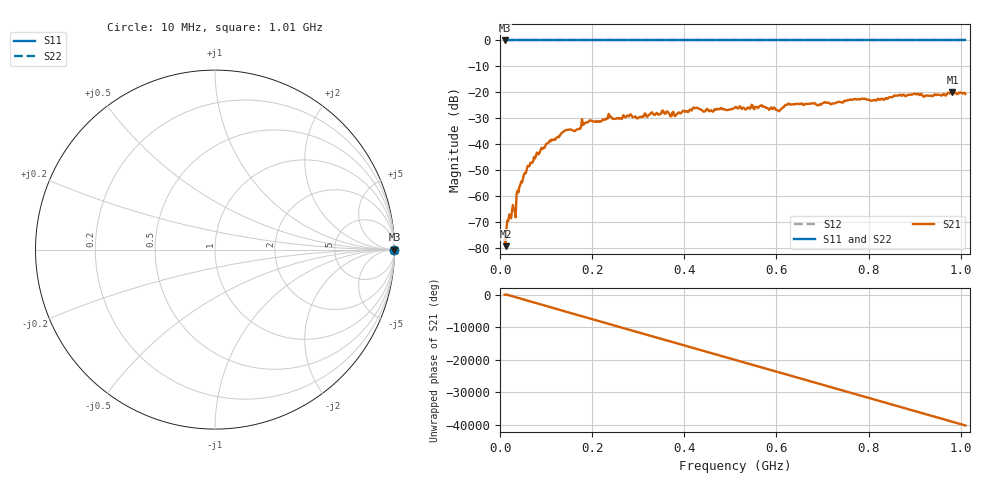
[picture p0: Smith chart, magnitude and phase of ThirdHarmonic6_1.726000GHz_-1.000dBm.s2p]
! 8/16/2025 8:47:15 PM
! C:\ANRITSUVNA\TEMP\TEMP.S2P
! CHANNEL.1
! TR.MEASUREMENT
! RAW.DATA
! RF.CORRECTION.OFF
! AVERAGING.OFF
! IF.BANDWIDTH: 5KHZ
! SWEEPTYPE:  FREQ.SWEEP(Linear)
! Reference Plane Port Info
! PORT:  PORT1  PORT2
! DISTANCE:  0  m  0  m
! TIME:  0  s  0  s
! PHASE.OFFSET:  0  deg.  0  deg.
! LOSS:  0  dB  0  dB
! REF.LOSS:  0  dB  0  dB
! REF.FREQ:  0  Hz  0  Hz
! Power Info
! POWER:  -20  dBm  -20  dBm
! EFF.POWER:  -20  dBm  -20  dBm
! SOURCE.ATTEN:  0  dB  0  dB
! TEST.ATTEN:  0  dB  0  dB
# GHZ S RI R 50.0
! FREQ.GHZ  S11RE  S11IM  S21RE  S21IM  S12RE  S12IM  S22RE  S22IM
!; PortSelection: Port_12
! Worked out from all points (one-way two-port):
!   501 points, 10 MHz to 1.01 GHz, reference 50 ohm
!   highest |S21| = -19.88 dB at 982 MHz (marker M1); lowest = -79.4 dB at 12 MHz (marker M2)
!   lowest |S11| = 0.0 dB at 10 MHz (marker M3)
!   |S11| at or under -10 dB: nowhere
!   |S22| runs from 0.0 to 0.0 dB; largest |S21 - S12| = 1.1
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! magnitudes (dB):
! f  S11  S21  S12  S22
! 10 MHz  0.0  -76.9  0.0  0.0
! 12 MHz  0.0  -79.4  0.0  0.0
! 18 MHz  0.0  -69.7  0.0  0.0
! 30 MHz  0.0  -65.6  0.0  0.0
! 40 MHz  0.0  -58.7  0.0  0.0
! 64 MHz  0.0  -48.5  0.0  0.0
! 104 MHz  0.0  -39.6  0.0  0.0
! 140 MHz  0.0  -34.8  0.0  0.0
! 178 MHz  0.0  -30.4  0.0  0.0
! 236 MHz  0.0  -28.3  0.0  0.0
! 344 MHz  0.0  -28.7  0.0  0.0
! 382 MHz  0.0  -28.8  0.0  0.0
! 424 MHz  0.0  -26.2  0.0  0.0
! 442 MHz  0.0  -27.5  0.0  0.0
! 510 MHz  0.0  -25.8  0.0  0.0
! 568 MHz  0.0  -24.9  0.0  0.0
! 604 MHz  0.0  -27.1  0.0  0.0
! 624 MHz  0.0  -24.8  0.0  0.0
! 678 MHz  0.0  -24.3  0.0  0.0
! 844 MHz  0.0  -22.0  0.0  0.0
! 982 MHz  0.0  -19.9  0.0  0.0
! 1.01 GHz  0.0  -20.6  0.0  0.0
